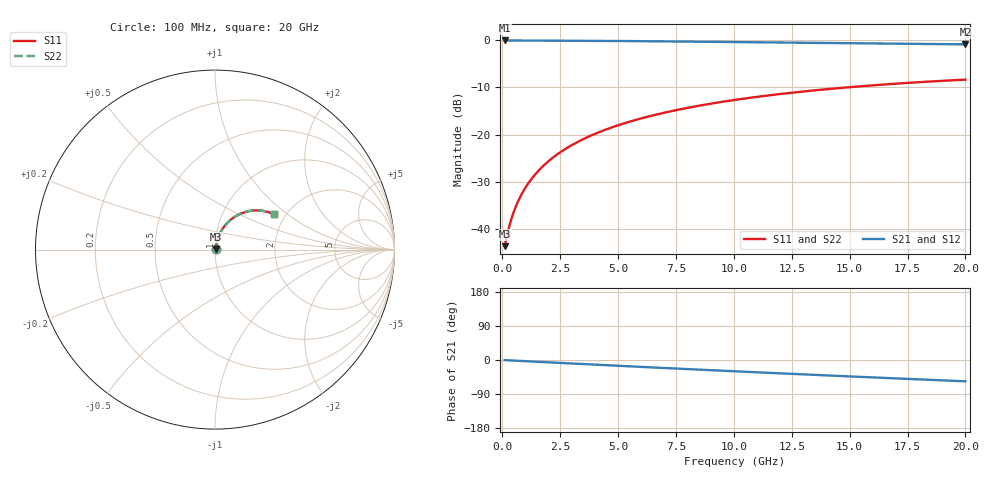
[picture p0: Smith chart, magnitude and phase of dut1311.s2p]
! Touchstone file exported from HFSS 2026.1.0
!  File:  C:/ffzhzh/LocalFiles/Ansys_Project_Files/temp_train_TMRDL_1311_1783164860_55132.aedt
!  Generated:  07:35:41 PM Jul  4, 2026
!  Design:  TMRDL
!  Project:  temp_train_TMRDL_1311_1783164860_55132
! Variables:
!  h_bsmrdl = 2um
!  h_ox = 20um
!  h_rdl = 5um
!  h_sub = 80um
!  h_tmrdl = 3.91um
!  h_tsv = 80um
!  h_via = 3um
!  l_bsmrdl = 300um
!  l_sub = 1341.74um
!  l_tmrdl = 941.74um
!  m_sub = 200um
!  pitch = 28.58um
!  r_tsv = 6um
!  s_tmrdl = 10um
!  w_bsmrdl = 18um
!  w_sub = 500um
!  w_tmrdl = 14.61um
!  x_tsv_center1 = 949.045um
!  x_tsv_center2 = 1267.045um
!  x_tsv_center3 = 2223.395um
!  x_tsv_center4 = 2541.395um
!  x_tsv_center5 = 3497.745um
!  x_tsv_center6 = 3815.745um
# GHz S MA R 50.000000
! Terminal data exported
! Port[1] = TM_RDL1_1_T1
! Port[2] = TM_RDL1_1_T2
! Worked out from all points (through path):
!   200 points, 100 MHz to 20 GHz, reference 50 ohm
!   highest |S21| = -0.05 dB at 100 MHz (marker M1); lowest = -0.9 dB at 20 GHz (marker M2)
!   group delay of S21, straight-line fit = 7.8 ps
!   lowest |S11| = -43.6 dB at 100 MHz (marker M3), VSWR 1.01, Z = 50.6 + j0.296 ohm
!   |S11| at or under -10 dB: start of sweep to 14.86 GHz
!   |S22| runs from -43.6 to -8.3 dB; largest |S21 - S12| = 4.1e-15
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0.1  0.006602 26.3  0.9941 -0.3  0.9941 -0.3  0.006602 26.3
! Gamma 0 0 0 0
! Port Impedance 50 0 50 0
0.3  0.01067 52.4  0.9936 -1.0  0.9936 -1.0  0.01067 52.4
0.4  0.01301 58.2  0.9933 -1.3  0.9933 -1.3  0.01301 58.2
0.5  0.01538 62.1  0.9931 -1.6  0.9931 -1.6  0.01538 62.1
0.6  0.01777 65.0  0.9929 -1.9  0.9929 -1.9  0.01776 65.0
0.8  0.0226 68.9  0.9926 -2.5  0.9926 -2.5  0.0226 68.9
1  0.02751 71.3  0.9923 -3.1  0.9923 -3.1  0.02751 71.3
1.2  0.03247 72.8  0.992 -3.7  0.992 -3.7  0.03247 72.8
1.4  0.03746 73.8  0.9916 -4.4  0.9916 -4.4  0.03746 73.8
1.7  0.04498 74.6  0.9911 -5.3  0.9911 -5.3  0.04498 74.6
2.2  0.05753 74.9  0.9901 -6.8  0.9901 -6.8  0.05753 74.9
2.8  0.07251 74.4  0.9886 -8.6  0.9886 -8.6  0.07251 74.4
3.5  0.08978 73.2  0.9865 -10.8  0.9865 -10.8  0.08977 73.2
4.2  0.1067 71.6  0.9841 -12.9  0.9841 -12.9  0.1067 71.6
5  0.1257 69.6  0.981 -15.3  0.981 -15.3  0.1257 69.7
5.9  0.1464 67.3  0.9771 -17.9  0.9771 -17.9  0.1464 67.3
6.8  0.1665 64.9  0.9729 -20.6  0.9729 -20.6  0.1665 64.9
8.3  0.1985 60.9  0.9654 -24.9  0.9654 -24.9  0.1985 60.9
10.1  0.2345 56.1  0.9559 -30.0  0.9559 -30.0  0.2345 56.1
13.4  0.2932 47.4  0.9378 -39.1  0.9378 -39.1  0.2932 47.5
16.7  0.3426 39.1  0.9201 -47.8  0.9201 -47.8  0.3426 39.1
20  0.3826 30.9  0.9039 -56.3  0.9039 -56.3  0.3826 31.0
